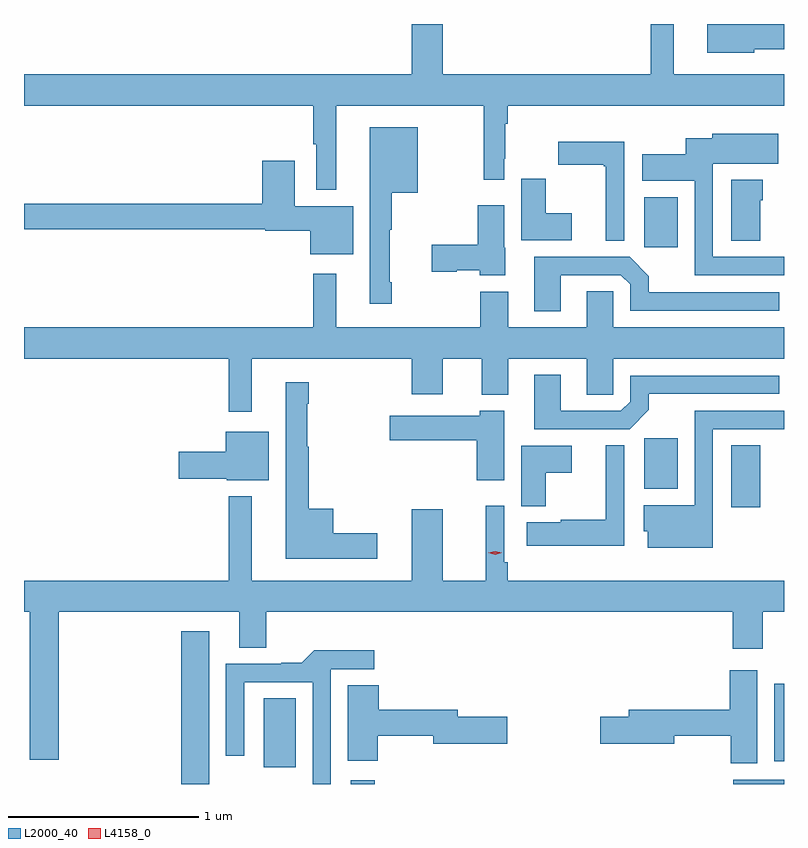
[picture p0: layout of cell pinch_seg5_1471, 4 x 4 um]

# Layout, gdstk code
import gdstk
lib = gdstk.Library(unit=1e-6, precision=1e-09)
def R(c, l, rs):  # rectangles x0, y0, x1, y1
    for r in rs: c.add(gdstk.rectangle(r[:2], r[2:], *l))
def P(c, l, *ps):  # polygons
    for p in ps: c.add(gdstk.Polygon(p, *l))
L2000_40 = (2000, 40)
L4158_0 = (4158, 0)

pinch_seg5_1471 = lib.new_cell('pinch_seg5_1471')
R(pinch_seg5_1471, L2000_40, [(331.628,833.209,331.774,834.013), (332.519,833.209,332.645,833.23), (334.533,833.209,334.8,833.232), (332.063,833.298,332.23,833.66), (334.748,833.33,334.8,833.737), (334.523,834.666,334.675,834.992), (334.064,834.764,334.24,835.028), (334.064,836.033,334.24,836.296)])
P(pinch_seg5_1471, L2000_40, [(333.219,836.388),(333.327,836.388),(333.327,836.5),(333.332,836.5),(333.332,836.684),(333.347,836.684),(333.347,836.78),(334.8,836.78),(334.8,836.944),(334.219,836.944),(334.219,837.209),(334.098,837.209),(334.098,836.944),(333.004,836.944),(333.004,837.209),(332.84,837.209),(332.84,836.944),(330.8,836.944),(330.8,836.78),(332.322,836.78),(332.322,836.575),(332.339,836.575),(332.339,836.336),(332.443,836.336),(332.443,836.78),(333.219,836.78)],
  [(334.644,837.077),(334.8,837.077),(334.8,837.209),(334.397,837.209),(334.397,837.059),(334.644,837.059)],
  [(332.735,835.849),(332.725,835.849),(332.725,836.125),(332.735,836.125),(332.735,836.321),(332.872,836.321),(332.872,836.665),(332.621,836.665),(332.621,835.737),(332.735,835.737)],
  [(334.8,835.983),(334.425,835.983),(334.425,836.474),(334.771,836.474),(334.771,836.632),(334.422,836.632),(334.422,836.608),(334.283,836.608),(334.283,836.524),(334.053,836.524),(334.053,836.384),(334.329,836.384),(334.329,835.887),(334.8,835.887)],
  [(333.96,836.59),(333.612,836.59),(333.612,836.468),(333.852,836.468),(333.852,836.461),(333.863,836.461),(333.863,836.068),(333.96,836.068)],
  [(332.533,836.251),(332.224,836.251),(332.224,836.488),(332.054,836.488),(332.054,836.264),(330.8,836.264),(330.8,836.128),(332.07,836.128),(332.07,836.12),(332.306,836.12),(332.306,835.997),(332.533,835.997)],
  [(333.682,836.212),(333.546,836.212),(333.546,836.395),(333.416,836.395),(333.416,836.072),(333.682,836.072)],
  [(334.675,836.282),(334.688,836.282),(334.688,836.389),(334.523,836.389),(334.523,836.068),(334.675,836.068)],
  [(333.334,836.031),(333.328,836.031),(333.328,836.254),(333.187,836.254),(333.187,836.048),(332.946,836.048),(332.946,835.906),(333.078,835.906),(333.078,835.913),(333.198,835.913),(333.198,835.886),(333.334,835.886)],
  [(333.625,835.887),(333.942,835.887),(333.99,835.839),(333.99,835.701),(334.774,835.701),(334.774,835.797),(334.089,835.797),(334.089,835.881),(333.987,835.983),(333.485,835.983),(333.485,835.698),(333.625,835.698)],
  [(331.999,835.448),(332.84,835.448),(332.84,835.26),(333.004,835.26),(333.004,835.448),(333.209,835.448),(333.209,835.259),(333.349,835.259),(333.349,835.448),(333.761,835.448),(333.761,835.258),(333.9,835.258),(333.9,835.448),(334.8,835.448),(334.8,835.612),(333.9,835.612),(333.9,835.802),(333.761,835.802),(333.761,835.612),(333.349,835.612),(333.349,835.801),(333.202,835.801),(333.202,835.612),(332.443,835.612),(332.443,835.894),(332.322,835.894),(332.322,835.612),(330.8,835.612),(330.8,835.448),(331.878,835.448),(331.878,835.167),(331.999,835.167)],
  [(334.089,835.179),(334.089,835.263),(334.774,835.263),(334.774,835.359),(333.99,835.359),(333.99,835.221),(333.942,835.173),(333.625,835.173),(333.625,835.363),(333.485,835.363),(333.485,835.077),(333.987,835.077)],
  [(332.659,834.53),(332.428,834.53),(332.428,834.658),(332.299,834.658),(332.299,834.983),(332.291,834.983),(332.291,835.211),(332.299,835.211),(332.299,835.324),(332.177,835.324),(332.177,834.395),(332.659,834.395)],
  [(333.328,835.174),(333.198,835.174),(333.198,835.147),(332.724,835.147),(332.724,835.018),(333.182,835.018),(333.182,834.807),(333.328,834.807)],
  [(334.425,835.077),(334.8,835.077),(334.8,835.173),(334.329,835.173),(334.329,834.676),(334.061,834.676),(334.061,834.54),(334.082,834.54),(334.082,834.452),(334.425,834.452)],
  [(332.089,835.063),(331.862,835.063),(331.862,834.957),(331.614,834.957),(331.614,834.815),(331.866,834.815),(331.866,834.809),(332.089,834.809)],
  [(333.96,834.992),(333.863,834.992),(333.863,834.6),(333.624,834.6),(333.624,834.586),(333.447,834.586),(333.447,834.464),(333.96,834.464)],
  [(333.546,834.848),(333.682,834.848),(333.682,834.988),(333.416,834.988),(333.416,834.671),(333.546,834.671)],
  [(330.983,834.116),(331.934,834.116),(331.934,833.926),(332.074,833.926),(332.074,834.116),(334.529,834.116),(334.529,833.922),(334.689,833.922),(334.689,834.116),(334.8,834.116),(334.8,834.28),(333.347,834.28),(333.347,834.376),(333.327,834.376),(333.327,834.673),(333.229,834.673),(333.229,834.28),(333.004,834.28),(333.004,834.655),(332.84,834.655),(332.84,834.28),(331.999,834.28),(331.999,834.724),(331.878,834.724),(331.878,834.28),(330.8,834.28),(330.8,834.116),(330.83,834.116),(330.83,833.337),(330.983,833.337)],
  [(332.415,833.814),(332.644,833.814),(332.644,833.912),(332.327,833.912),(332.261,833.846),(332.153,833.846),(332.153,833.841),(331.863,833.841),(331.863,833.358),(331.959,833.358),(331.959,833.745),(332.319,833.745),(332.319,833.209),(332.415,833.209)],
  [(334.66,833.809),(334.514,833.809),(334.514,833.6),(333.983,833.6),(333.983,833.564),(333.834,833.564),(333.834,833.422),(334.222,833.422),(334.222,833.464),(334.519,833.464),(334.519,833.317),(334.66,833.317)],
  [(332.661,833.464),(332.954,833.464),(332.954,833.422),(333.343,833.422),(333.343,833.564),(333.082,833.564),(333.082,833.6),(332.666,833.6),(332.666,833.729),(332.504,833.729),(332.504,833.331),(332.661,833.331)])
P(pinch_seg5_1471, L4158_0, [(333.279,834.415),(333.243,834.425),(333.243,834.425),(333.243,834.425),(333.279,834.435),(333.315,834.425),(333.315,834.425),(333.315,834.425)])

lib.write_gds('pinch_seg5_1471.gds')
